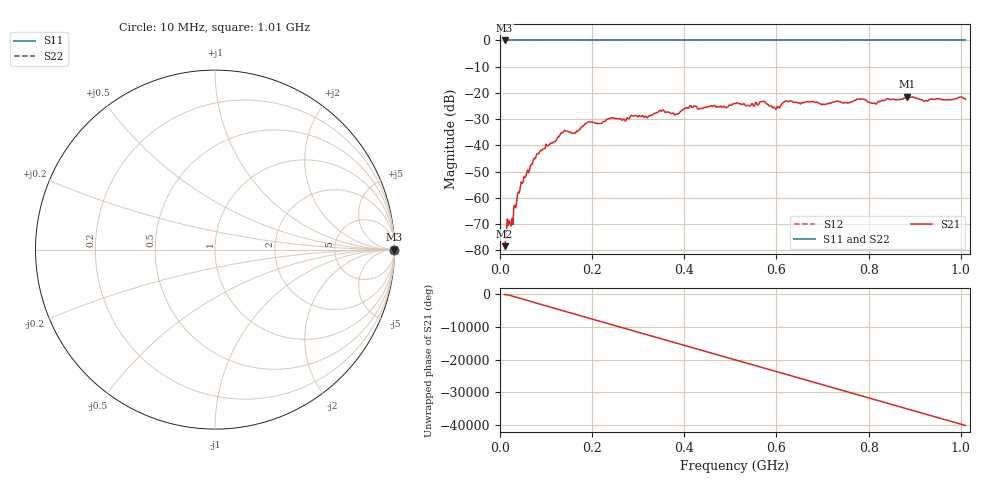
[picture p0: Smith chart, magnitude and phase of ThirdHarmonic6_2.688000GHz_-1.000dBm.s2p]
! 8/17/2025 6:21:43 AM
! C:\ANRITSUVNA\TEMP\TEMP.S2P
! CHANNEL.1
! TR.MEASUREMENT
! RAW.DATA
! RF.CORRECTION.OFF
! AVERAGING.OFF
! IF.BANDWIDTH: 5KHZ
! SWEEPTYPE:  FREQ.SWEEP(Linear)
! Reference Plane Port Info
! PORT:  PORT1  PORT2
! DISTANCE:  0  m  0  m
! TIME:  0  s  0  s
! PHASE.OFFSET:  0  deg.  0  deg.
! LOSS:  0  dB  0  dB
! REF.LOSS:  0  dB  0  dB
! REF.FREQ:  0  Hz  0  Hz
! Power Info
! POWER:  -20  dBm  -20  dBm
! EFF.POWER:  -20  dBm  -20  dBm
! SOURCE.ATTEN:  0  dB  0  dB
! TEST.ATTEN:  0  dB  0  dB
# GHZ S RI R 50.0
! FREQ.GHZ  S11RE  S11IM  S21RE  S21IM  S12RE  S12IM  S22RE  S22IM
!; PortSelection: Port_12
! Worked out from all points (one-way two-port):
!   501 points, 10 MHz to 1.01 GHz, reference 50 ohm
!   highest |S21| = -21.48 dB at 884 MHz (marker M1); lowest = -78.4 dB at 10 MHz (marker M2)
!   lowest |S11| = 0.0 dB at 10 MHz (marker M3)
!   |S11| at or under -10 dB: nowhere
!   |S22| runs from 0.0 to 0.0 dB; largest |S21 - S12| = 1.1
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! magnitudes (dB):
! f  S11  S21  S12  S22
! 10 MHz  0.0  -78.4  0.0  0.0
! 18 MHz  0.0  -70.5  0.0  0.0
! 26 MHz  0.0  -67.9  0.0  0.0
! 42 MHz  0.0  -58.1  0.0  0.0
! 76 MHz  0.0  -45.1  0.0  0.0
! 136 MHz  0.0  -35.1  0.0  0.0
! 160 MHz  0.0  -35.4  0.0  0.0
! 178 MHz  0.0  -32.8  0.0  0.0
! 194 MHz  0.0  -31.0  0.0  0.0
! 344 MHz  0.0  -27.2  0.0  0.0
! 382 MHz  0.0  -28.0  0.0  0.0
! 416 MHz  0.0  -25.5  0.0  0.0
! 510 MHz  0.0  -24.1  0.0  0.0
! 570 MHz  0.0  -23.3  0.0  0.0
! 596 MHz  0.0  -25.6  0.0  0.0
! 620 MHz  0.0  -23.0  0.0  0.0
! 678 MHz  0.0  -23.3  0.0  0.0
! 784 MHz  0.0  -22.4  0.0  0.0
! 814 MHz  0.0  -24.0  0.0  0.0
! 844 MHz  0.0  -22.4  0.0  0.0
! 884 MHz  0.0  -21.5  0.0  0.0
! 1.01 GHz  0.0  -22.4  0.0  0.0
